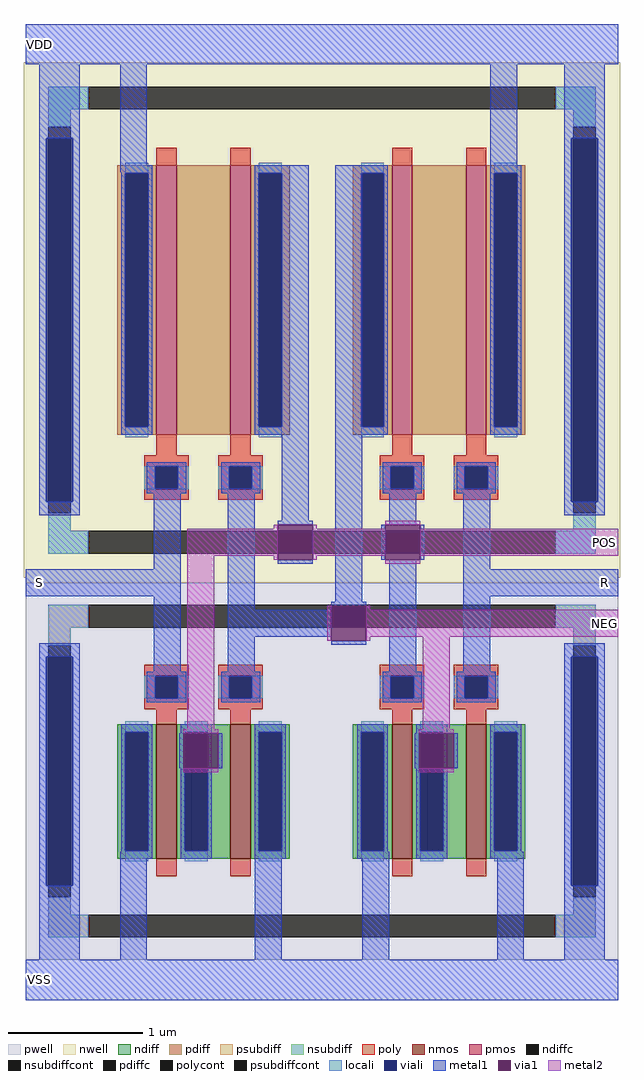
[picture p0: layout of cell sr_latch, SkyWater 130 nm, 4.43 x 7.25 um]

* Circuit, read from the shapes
.subckt sr_latch VDD VSS R S NEG POS
XM1 POS S VSS VSS sky130_fd_pr__nfet_01v8 w=1 l=0.15
XM2 VSS NEG POS VSS sky130_fd_pr__nfet_01v8 w=1 l=0.15
XM3 NEG POS VSS VSS sky130_fd_pr__nfet_01v8 w=1 l=0.15
XM4 VSS R NEG VSS sky130_fd_pr__nfet_01v8 w=1 l=0.15
XM5 n1 S VDD VDD sky130_fd_pr__pfet_01v8 w=2 l=0.15
XM6 POS NEG n1 VDD sky130_fd_pr__pfet_01v8 w=2 l=0.15
XM7 n2 POS NEG VDD sky130_fd_pr__pfet_01v8 w=2 l=0.15
XM8 VDD R n2 VDD sky130_fd_pr__pfet_01v8 w=2 l=0.15
.ends

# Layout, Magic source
magic
tech sky130A
magscale 1 2
<< nwell >>
rect -103 -113 783 653
rect -100 -120 780 -113
<< pwell >>
rect -100 -680 780 -120
<< psubdiff >>
rect -67 -187 -7 -153
rect 687 -187 747 -153
rect -67 -213 -33 -187
rect -67 -613 -33 -587
rect 713 -213 747 -187
rect 713 -613 747 -587
rect -67 -647 -7 -613
rect 687 -647 747 -613
<< nsubdiff >>
rect -67 583 -7 617
rect 687 583 747 617
rect -67 557 -33 583
rect -67 -43 -33 -17
rect 713 557 747 583
rect 713 -43 747 -17
rect -67 -77 -7 -43
rect 687 -77 747 -43
<< psubdiffcont >>
rect -7 -187 687 -153
rect -67 -587 -33 -213
rect 713 -587 747 -213
rect -7 -647 687 -613
<< nsubdiffcont >>
rect -7 583 687 617
rect -67 -17 -33 557
rect 713 -17 747 557
rect -7 -77 687 -43
<< locali >>
rect -67 583 -7 617
rect 687 583 747 617
rect -67 557 -33 583
rect 713 557 747 583
rect -67 -43 -33 -17
rect 713 -43 747 -17
rect -67 -77 -7 -43
rect 687 -77 747 -43
rect -67 -187 -7 -153
rect 687 -187 747 -153
rect -67 -213 -33 -187
rect 713 -213 747 -187
rect -67 -613 -33 -587
rect 713 -613 747 -587
rect -67 -647 -7 -613
rect 687 -647 747 -613
<< viali >>
rect -70 0 -67 540
rect -67 0 -33 540
rect -33 0 -30 540
rect 710 0 713 540
rect 713 0 747 540
rect 747 0 750 540
rect -70 -570 -67 -230
rect -67 -570 -33 -230
rect -33 -570 -30 -230
rect 710 -570 713 -230
rect 713 -570 747 -230
rect 747 -570 750 -230
<< metal1 >>
rect -100 650 780 710
rect -80 540 -20 650
rect -80 0 -70 540
rect -30 0 -20 540
rect 40 490 80 650
rect -80 -20 -20 0
rect 90 -100 130 20
rect -100 -140 130 -100
rect -80 -230 -20 -210
rect -80 -570 -70 -230
rect -30 -570 -20 -230
rect 90 -260 130 -140
rect 200 -160 240 20
rect 280 -28 320 500
rect 274 -34 326 -28
rect 274 -92 326 -86
rect 360 -148 400 500
rect 590 490 630 650
rect 700 540 760 650
rect 440 -34 480 20
rect 428 -86 434 -34
rect 486 -86 492 -34
rect 354 -154 406 -148
rect 200 -200 354 -160
rect 200 -260 240 -200
rect 354 -212 406 -206
rect 440 -260 480 -86
rect 550 -100 590 20
rect 700 0 710 540
rect 750 0 760 540
rect 700 -20 760 0
rect 550 -140 780 -100
rect 550 -260 590 -140
rect 700 -230 760 -210
rect 128 -396 134 -344
rect 186 -396 192 -344
rect 478 -396 484 -344
rect 536 -396 542 -344
rect -80 -680 -20 -570
rect 40 -680 80 -520
rect 240 -680 280 -520
rect 400 -680 440 -520
rect 600 -680 640 -520
rect 700 -570 710 -230
rect 750 -570 760 -230
rect 700 -680 760 -570
rect -100 -740 780 -680
<< via1 >>
rect 274 -86 326 -34
rect 434 -86 486 -34
rect 354 -206 406 -154
rect 134 -396 186 -344
rect 484 -396 536 -344
<< metal2 >>
rect 434 -34 486 -28
rect 268 -40 274 -34
rect 140 -80 274 -40
rect 140 -338 180 -80
rect 268 -86 274 -80
rect 326 -40 332 -34
rect 326 -80 434 -40
rect 326 -86 332 -80
rect 486 -80 780 -40
rect 434 -92 486 -86
rect 348 -206 354 -154
rect 406 -160 412 -154
rect 406 -200 780 -160
rect 406 -206 412 -200
rect 490 -338 530 -200
rect 134 -344 186 -338
rect 134 -402 186 -396
rect 484 -344 536 -338
rect 484 -402 536 -396
use sky130_fd_pr__nfet_MJHEWA  sky130_fd_pr__nfet_MJHEWA_0
transform 1 0 109 0 1 -399
box -73 -157 73 157
use sky130_fd_pr__nfet_MJHEWA  sky130_fd_pr__nfet_MJHEWA_1
transform 1 0 459 0 1 -399
box -73 -157 73 157
use sky130_fd_pr__nfet_MJHEWA_abut1  sky130_fd_pr__nfet_MJHEWA_abut1_0
transform 1 0 219 0 1 -399
box -73 -157 73 157
use sky130_fd_pr__nfet_MJHEWA_abut1  sky130_fd_pr__nfet_MJHEWA_abut1_1
transform 1 0 569 0 1 -399
box -73 -157 73 157
use sky130_fd_pr__pfet_01v8_H3PEXU_abut1  sky130_fd_pr__pfet_01v8_H3PEXU_abut1_0
transform 1 0 109 0 1 264
box -109 -264 109 298
use sky130_fd_pr__pfet_01v8_H3PEXU_abut1  sky130_fd_pr__pfet_01v8_H3PEXU_abut1_1
transform 1 0 459 0 1 264
box -109 -264 109 298
use sky130_fd_pr__pfet_01v8_H3PEXU_abut2  sky130_fd_pr__pfet_01v8_H3PEXU_abut2_0
transform 1 0 219 0 1 264
box -109 -264 109 298
use sky130_fd_pr__pfet_01v8_H3PEXU_abut2  sky130_fd_pr__pfet_01v8_H3PEXU_abut2_1
transform 1 0 569 0 1 264
box -109 -264 109 298
<< labels >>
flabel metal1 -100 660 -60 700 0 FreeSans 240 0 0 0 VDD
port 1 nsew
flabel metal1 -100 -730 -60 -690 0 FreeSans 240 0 0 0 VSS
port 2 nsew
flabel metal1 740 -140 780 -100 0 FreeSans 240 0 0 0 R
port 3 nsew
flabel metal1 -100 -140 -60 -100 0 FreeSans 240 0 0 0 S
port 4 nsew
flabel metal2 740 -200 780 -160 0 FreeSans 240 0 0 0 NEG
port 5 nsew
flabel metal2 740 -80 780 -40 0 FreeSans 240 0 0 0 POS
port 6 nsew
<< end >>

# cell sky130_fd_pr__nfet_MJHEWA: kit device sky130_fd_pr__nfet_01v8, w 1 l 0.150 m 1 nf 1 diffcov 100 polycov 100 guard 0 glc 1 grc 1 gtc 1 gbc 1 tbcov 100 rlcov 100 topc 1 botc 0 poverlap 0 doverlap 1 lmin 0.15 wmin 0.42 class mosfet compatible {sky130_fd_pr__nfet_01v8 sky130_fd_pr__nfet_01v8_lvt sky130_fd_bs_flash__special_sonosfet_star sky130_fd_pr__nfet_g5v0d10v5 sky130_fd_pr__nfet_05v0_nvt sky130_fd_pr__nfet_03v3_nvt} full_metal 1 conn_gates 0 viasrc 100 viadrn 100 viagate 100 viagb 0 viagr 0 viagl 0 viagt 0 doports 1

# cell sky130_fd_pr__nfet_MJHEWA_abut1: kit device sky130_fd_pr__nfet_01v8, w 1 l 0.150 m 1 nf 1 diffcov 100 polycov 100 guard 0 glc 1 grc 1 gtc 1 gbc 1 tbcov 100 rlcov 100 topc 1 botc 0 poverlap 0 doverlap 1 lmin 0.15 wmin 0.42 class mosfet compatible {sky130_fd_pr__nfet_01v8 sky130_fd_pr__nfet_01v8_lvt sky130_fd_bs_flash__special_sonosfet_star sky130_fd_pr__nfet_g5v0d10v5 sky130_fd_pr__nfet_05v0_nvt sky130_fd_pr__nfet_03v3_nvt} full_metal 1 conn_gates 0 viasrc 100 viadrn 100 viagate 100 viagb 0 viagr 0 viagl 0 viagt 0 doports 1

# cell sky130_fd_pr__pfet_01v8_H3PEXU_abut1: kit device sky130_fd_pr__pfet_01v8, w 2 l 0.15 m 1 nf 1 diffcov 100 polycov 100 guard 0 glc 1 grc 1 gtc 1 gbc 1 tbcov 100 rlcov 100 topc 0 botc 1 poverlap 0 doverlap 1 lmin 0.15 wmin 0.42 class mosfet compatible {sky130_fd_pr__pfet_01v8 sky130_fd_pr__pfet_01v8_lvt sky130_fd_pr__pfet_01v8_hvt sky130_fd_pr__pfet_g5v0d10v5} full_metal 1 conn_gates 0 viasrc 100 viadrn 100 viagate 100 viagb 0 viagr 0 viagl 0 viagt 0 doports 1

# cell sky130_fd_pr__pfet_01v8_H3PEXU_abut2: kit device sky130_fd_pr__pfet_01v8, w 2 l 0.15 m 1 nf 1 diffcov 100 polycov 100 guard 0 glc 1 grc 1 gtc 1 gbc 1 tbcov 100 rlcov 100 topc 0 botc 1 poverlap 0 doverlap 1 lmin 0.15 wmin 0.42 class mosfet compatible {sky130_fd_pr__pfet_01v8 sky130_fd_pr__pfet_01v8_lvt sky130_fd_pr__pfet_01v8_hvt sky130_fd_pr__pfet_g5v0d10v5} full_metal 1 conn_gates 0 viasrc 100 viadrn 100 viagate 100 viagb 0 viagr 0 viagl 0 viagt 0 doports 1
